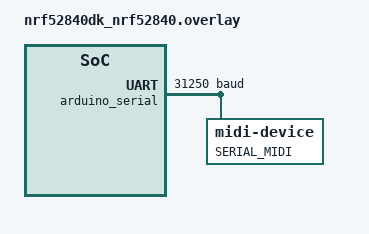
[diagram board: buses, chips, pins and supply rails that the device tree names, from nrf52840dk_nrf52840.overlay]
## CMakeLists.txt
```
#
# Copyright (c) 2018 Nordic Semiconductor
#
# SPDX-License-Identifier: LicenseRef-Nordic-5-Clause
#
cmake_minimum_required(VERSION 3.20.0)

find_package(Zephyr REQUIRED HINTS $ENV{ZEPHYR_BASE})
project(NONE)

# NORDIC SDK APP START
target_sources(app PRIVATE
  src/main.c
)
# NORDIC SDK APP END

zephyr_library_include_directories(${CMAKE_CURRENT_SOURCE_DIR})
```

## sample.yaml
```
sample:
  name: USB MIDI
  description: USB MIDI sample 
tests:
  samples.usb:
    build_only: true
    build_on_all: true
    platform_allow: nrf51dk_nrf51422 nrf52dk_nrf52832 nrf52840dk_nrf52840
    tags: ci_build
```

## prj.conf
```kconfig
# Enable DK LED and Buttons library
CONFIG_DK_LIBRARY=y
CONFIG_GPIO=y

# Config logger
CONFIG_LOG=y
CONFIG_USE_SEGGER_RTT=y
CONFIG_LOG_BACKEND_RTT=y
CONFIG_LOG_BACKEND_UART=n


CONFIG_ASSERT=y

CONFIG_USB_DEVICE_STACK=y
CONFIG_USB_DEVICE_PRODUCT="Zephyr USB MIDI sample"
CONFIG_USB_DEVICE_MIDI=y

# #net buf options
# CONFIG_NET_BUF=y
# CONFIG_NET_BUF_USER_DATA_SIZE=0

CONFIG_MIDI=y
CONFIG_MIDI_SERIAL=y
CONFIG_MIDI_PARSER=y

# CONFIG_MIDI_SYNC=y

CONFIG_HEAP_MEM_POOL_SIZE=2048


# Enable the UART driver
CONFIG_UART_ASYNC_API=y
CONFIG_NRFX_UARTE0=y
CONFIG_SERIAL=y
```

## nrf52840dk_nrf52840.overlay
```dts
/*
 * Copyright (c) 2019 Nordic Semiconductor ASA
 *
 * SPDX-License-Identifier: Apache-2.0
 */

 &zephyr_udc0 {
	midi_device {
		compatible = "usb-midi-device";
		label = "MIDI";

		midi_interface_1 {
			compatible = "usb-midi-interface";
			index = <1>;
			setting_0 {
				compatible = "usb-midi-setting";
				revision = "MIDI 1.0";
				index = <0>;

				jack_1: jack_1 {
					label = "USB_MIDI_IN";
					compatible = "usb-midi-jack-pair";
					type-out = "EXTERNAL";
					type-in = "EMBEDDED";
					id-out = <4>;
					id-in = <1>;
				};

				jack_2: jack_2 {
					label = "USB_MIDI_OUT";
					compatible = "usb-midi-jack-pair";
					type-out = "EMBEDDED";
					type-in = "EXTERNAL";
					id-out = <3>;
					id-in = <2>;
				};

				jack_3: jack_3 {
					label = "USB_MIDI_IN_2";
					compatible = "usb-midi-jack-pair";
					type-out = "EXTERNAL";
					type-in = "EMBEDDED";
					id-out = <5>;
					id-in = <6>;
				};
		
				ep_out_1: endpoint_out_1 {
					compatible = "usb-midi-endpoint";
					direction = "OUT";
					type = "BULK";
					ep-num = <1>;
					assoc-entities = <&jack_1 &jack_3>;
					
				};
		
				ep_in_1: endpoint_in_1 {
					compatible = "usb-midi-endpoint";
					direction = "IN";
					type = "BULK";
					ep-num = <1>;
					assoc-entities = <&jack_2>;
				};
			};
			
			setting_1 {
				compatible = "usb-midi-setting";
				revision = "MIDI 2.0";
				index = <1>;

				ep_out_2: endpoint_out_2 {
					compatible = "usb-midi-endpoint";
					direction = "OUT";
					type = "BULK";
					ep-num = <5>;
					assoc-entities = <&gt_1>;
					
				};
		
				ep_in_2: endpoint_in_2 {
					compatible = "usb-midi-endpoint";
					direction = "IN";
					type = "INTERRUPT";
					ep-num = <5>;
					assoc-entities = <&gt_1>;
					interval = <1>;
				};
		
				gt_1: gt_1 {
					compatible = "usb-midi-group-terminal-block";
					id = <1>;
					type = "IN-OUT";
					group-terminal = <0>;
					num-group-terminals = <1>;
					protocol = "UNKNOWN";
					in-bandwidth = <1>;
				};
			};
		};
	};
};


&arduino_serial {
	current-speed = <31250>;
    midi_serial_device {
        label = "SERIAL_MIDI";
        compatible = "midi-device";
        midi_serial_in_device{
            compatible = "midi-serial-in-device";
            label = "SERIAL_MIDI_IN";
        };
    
        midi_serial_out_device{
            compatible = "midi-serial-out-device";
            label = "SERIAL_MIDI_OUT";
            handle-timestamps;
        };
    };

};
```

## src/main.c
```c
#include <zephyr/types.h>
#include <zephyr.h>
#include <device.h>
#include <soc.h>

#include <dk_buttons_and_leds.h>
#include <usb/usb_device.h>
#include <midi/midi.h>
#include <midi/midi_parser.h>

#include <logging/log.h>

#define LOG_MODULE_NAME midi
LOG_MODULE_REGISTER(LOG_MODULE_NAME);

#define RUN_STATUS_LED DK_LED1
#define RUN_LED_BLINK_INTERVAL 1000

const struct device *serial_midi_in_dev;
const struct device *serial_midi_out_dev;
const struct device *usb_midi_dev;
const struct device *usb_midi_in_dev;
const struct device *usb_midi_in_dev_2;
const struct device *usb_midi_out_dev;

DEFINE_MIDI_PARSER_SERIAL(serial_parser);
DEFINE_MIDI_PARSER_USB(usb_parser, 0);

static int midi_serial_sent(const struct device *dev,
			  midi_msg_t *msg,
			  void *user_data)
{
	// LOG_INF("MIDI sent!");
	
	midi_msg_unref(msg);

	return 0;
}

static int midi_serial_received(const struct device *dev,
			  midi_msg_t *msg,
			  void *user_data)
{
	midi_msg_t *parsed_msg = midi_parse_serial(msg, &serial_parser);

	midi_msg_unref(msg);
	if (parsed_msg) {
		LOG_HEXDUMP_INF(parsed_msg->data, parsed_msg->len, "parsed:");
		midi_send(serial_midi_out_dev, parsed_msg);
	}
	
	return 0;
}

static int midi_usb_sent(const struct device *dev,
			  midi_msg_t *msg,
			  void *user_data)
{
	// LOG_INF("MIDI sent!");
	
	midi_msg_unref(msg);

	return 0;
}

static int midi_usb_received(const struct device *dev,
			  midi_msg_t *msg,
			  void *user_data)
{
	// LOG_HEXDUMP_INF(msg->data, msg->len, "sending:");
	// midi_send(usb_midi_out_dev, msg);
	midi_msg_t *parsed_msg = midi_parse_usb(msg, &usb_parser);
	midi_msg_unref(msg);
	parsed_msg = midi_msg_ref(parsed_msg);
	if (parsed_msg) {
		midi_send(serial_midi_out_dev, parsed_msg);
		midi_send(usb_midi_out_dev, parsed_msg);
	}
	
	return 0;
}


void main(void)
{
	int blink_status = 0;
	int err;

	// const struct device *midi_in_dev;


	/* MIDI SERIAL IN*/
	serial_midi_in_dev = device_get_binding("SERIAL_MIDI_IN");

	if (!serial_midi_in_dev) {
		LOG_ERR("Can not get serial MIDI Device");
		// return;
	}

	err = midi_callback_set(serial_midi_in_dev, midi_serial_received, NULL);
	if (err != 0) {
		LOG_ERR("Can not set MIDI IN callbacks");
	}

	/* MIDI SERIAL OUT*/
	serial_midi_out_dev = device_get_binding("SERIAL_MIDI_OUT");

	if (!serial_midi_out_dev) {
		LOG_ERR("Can not get serial MIDI Device");
		// return;
	}

	err = midi_callback_set(serial_midi_out_dev, midi_serial_sent, NULL);
	if (err != 0) {
		LOG_ERR("Can not set MIDI IN callbacks");
	}

	/* MIDI USB DEVICE*/
	// usb_midi_dev = device_get_binding("MIDI");

	// if (!usb_midi_dev) {
	// 	LOG_ERR("Can not get USB MIDI Device");
	// 	return;
	// }

	/* MIDI USB IN */
	usb_midi_in_dev = device_get_binding("USB_MIDI_IN");

	if (!usb_midi_in_dev) {
		LOG_ERR("Can not get usb MIDI Device");
		// return;
	}

	err = midi_callback_set(usb_midi_in_dev, midi_usb_received, NULL);
	if (err != 0) {
		LOG_ERR("Can not set MIDI IN callbacks");
	}

	usb_midi_in_dev_2 = device_get_binding("USB_MIDI_IN_2");

	if (!usb_midi_in_dev_2) {
		LOG_ERR("Can not get usb MIDI Device");
		// return;
	}

	err = midi_callback_set(usb_midi_in_dev_2, midi_usb_received, NULL);
	if (err != 0) {
		LOG_ERR("Can not set MIDI IN callbacks");
	}

	/* MIDI USB OUT */
	usb_midi_out_dev = device_get_binding("USB_MIDI_OUT");

	if (!usb_midi_out_dev) {
		LOG_ERR("Can not get usb MIDI Device");
		// return;
	}

	err = midi_callback_set(usb_midi_out_dev, midi_usb_sent, NULL);
	if (err != 0) {
		LOG_ERR("Can not set MIDI IN callbacks");
	}

	err = usb_enable(NULL);
	if (err != 0) {
		LOG_ERR("Failed to enable USB");
		return;
	}

	err = dk_leds_init();
	if (err) {
		LOG_ERR("Cannot init LEDs (err: %d)", err);
	}

	for (;;) {
		dk_set_led(RUN_STATUS_LED, (++blink_status) % 2);
		k_sleep(K_MSEC(RUN_LED_BLINK_INTERVAL));
	}
}
```
